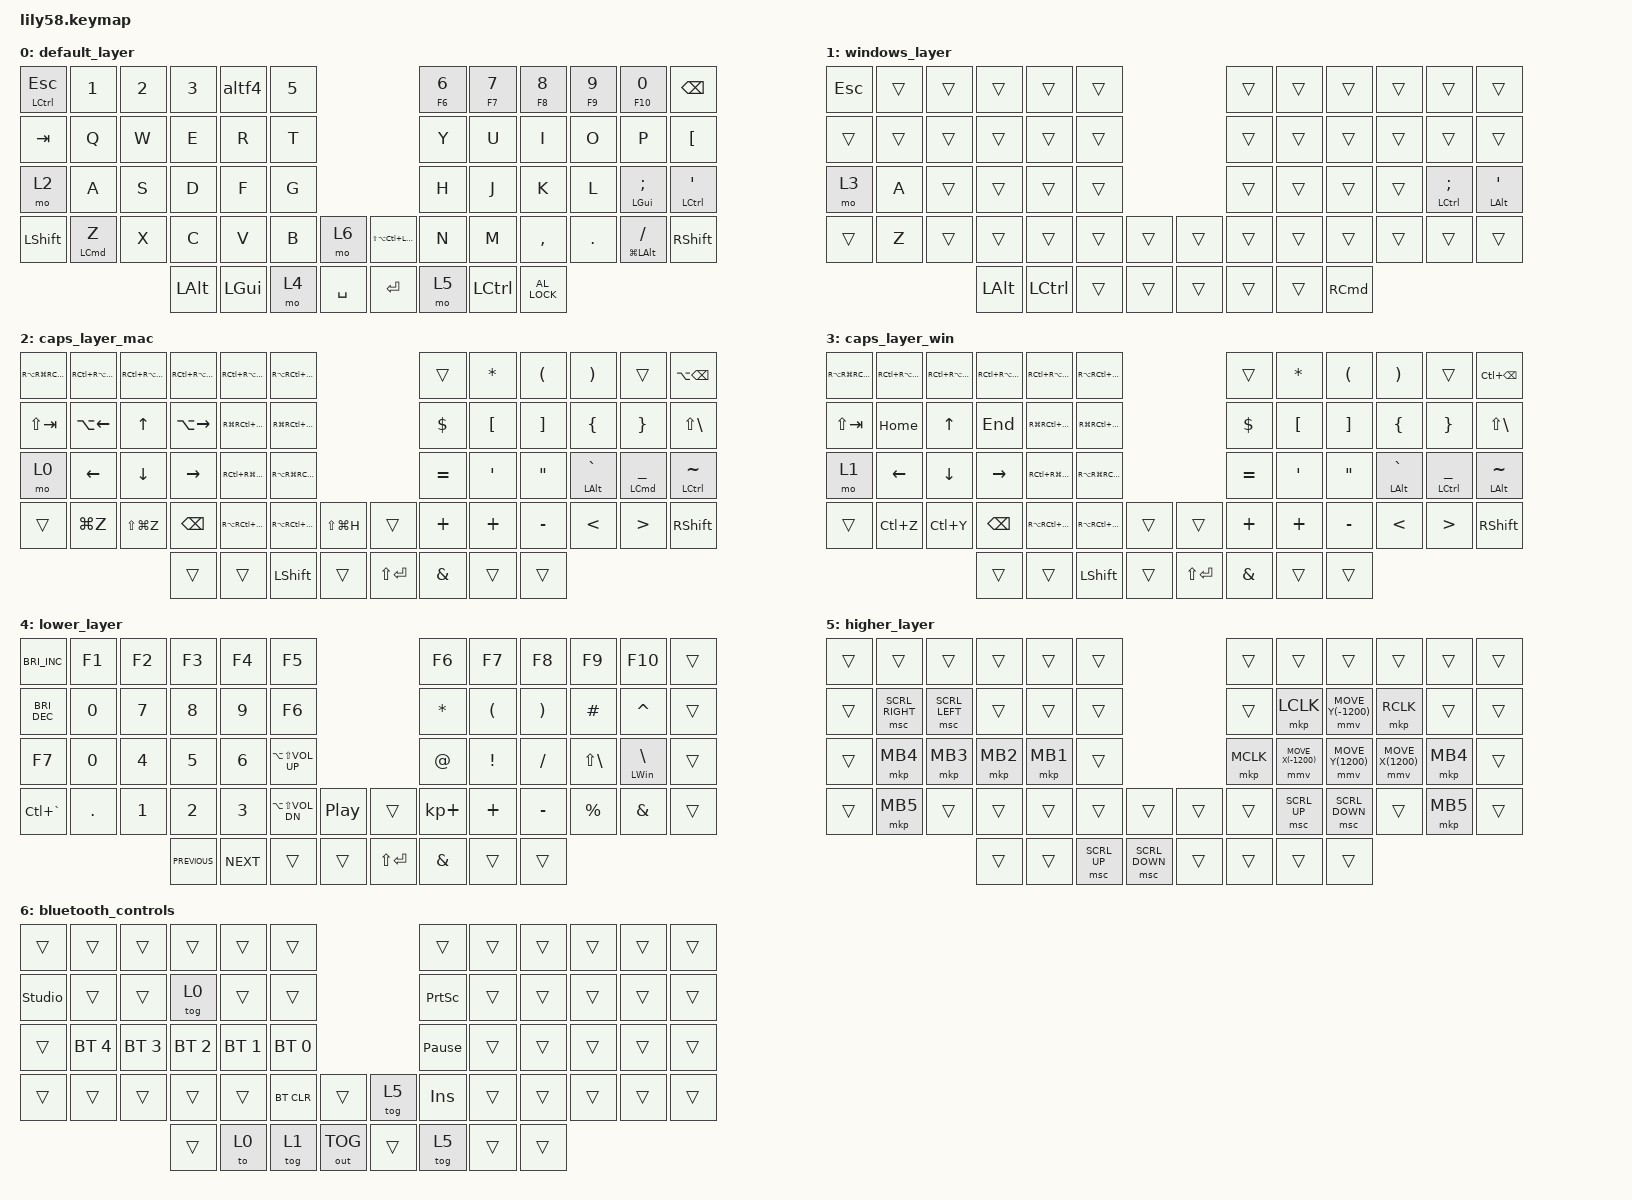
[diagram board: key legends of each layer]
/*
 * Copyright (c) 2020 The ZMK Contributors
 *
 * SPDX-License-Identifier: MIT
 */

#include <behaviors.dtsi>
#include <dt-bindings/zmk/bt.h>
#include <dt-bindings/zmk/keys.h>
#include <dt-bindings/zmk/outputs.h>
#include <dt-bindings/zmk/pointing.h>

&mt { flavor = "tap-preferred"; };

&msc { time-to-max-speed-ms = <50>; };

/ {
    combos {
        compatible = "zmk,combos";

        backspace {
            bindings = <&kp BACKSPACE>;
            key-positions = <31 32>;
            layers = <0 1 2 3 4>;
        };

        parenthesis_both {
            bindings = <&parenthesis>;
            key-positions = <19 20>;
            layers = <0 1 2 3 4>;
        };

        backspace_hard_mac {
            bindings = <&kp LA(BACKSPACE)>;
            key-positions = <31 33>;
            layers = <0 2>;
        };

        comment {
            bindings = <&kp LG(SLASH)>;
            key-positions = <31 35>;
            layers = <0 2>;
        };

        home_in_caps_layer_mac {
            bindings = <&kp LG(LEFT_ARROW)>;
            key-positions = <25 26>;
            layers = <2 4>;
        };

        end_in_caps_layer_mac {
            bindings = <&kp LG(RIGHT_ARROW)>;
            key-positions = <26 27>;
            layers = <2 4>;
        };

        delete {
            bindings = <&kp DELETE>;
            key-positions = <31 34>;
            layers = <0 2 3 4 1>;
        };

        lang_change_mac {
            bindings = <&kp F4>;
            key-positions = <28 25>;
            layers = <0>;
        };

        lang_change_win {
            bindings = <&kp LA(LEFT_SHIFT)>;
            key-positions = <28 25>;
            layers = <1>;
        };

        text_select_bulky_right {
            bindings = <&kp LA(LS(RIGHT_ARROW))>;
            key-positions = <14 15>;
            layers = <2>;
        };

        text_select_bulky_left {
            bindings = <&kp LA(LS(LEFT_ARROW))>;
            key-positions = <14 13>;
            layers = <2>;
        };

        copy_mac {
            bindings = <&mt LG(LS(C)) LG(C)>;
            key-positions = <39 38>;
            layers = <0 2 4>;
        };

        paste_mac {
            bindings = <&mt LG(LS(LA(V))) LG(V)>;
            key-positions = <39 40>;
            layers = <0 2 4>;
            require-prior-idle-ms = <50>;
            slow-release;
        };

        enter {
            bindings = <&kp ENTER>;
            key-positions = <40 38>;
            require-prior-idle-ms = <50>;
        };

        copy_win {
            bindings = <&kp LC(C)>;
            key-positions = <39 38>;
            layers = <1 3>;
            require-prior-idle-ms = <50>;
        };

        paste_win {
            bindings = <&kp LC(V)>;
            key-positions = <39 40>;
            layers = <1 3>;
        };

        shortcut_screen_left {
            bindings = <&kp RA(RC(RG(LEFT_ARROW)))>;
            key-positions = <45 46>;
            require-prior-idle-ms = <100>;
            layers = <2 3 5>;
        };

        shortcut_screen_right {
            bindings = <&kp RA(RC(RG(RIGHT_ARROW)))>;
            key-positions = <45 47>;
            require-prior-idle-ms = <100>;
            layers = <2 3 5>;
        };

        shortcut_screen_full {
            bindings = <&kp RA(RC(RG(ENTER)))>;
            key-positions = <45 48>;
            require-prior-idle-ms = <100>;
            layers = <2 3 5>;
        };

        shortcut_screen_next {
            bindings = <&kp RA(RC(RG(UP_ARROW)))>;
            key-positions = <46 47>;
            require-prior-idle-ms = <100>;
            layers = <2 3 5>;
        };

        page_up {
            bindings = <&mt HOME PAGE_UP>;
            key-positions = <30 31>;
        };

        page_down {
            bindings = <&mt END PAGE_DOWN>;
            key-positions = <44 45>;
        };

        find_mac {
            bindings = <&mt LS(LG(F)) LG(F)>;
            key-positions = <37 40>;
            layers = <0>;
        };

        find_win {
            bindings = <&mt LS(LC(F)) LC(F)>;
            key-positions = <37 40>;
            layers = <1>;
        };

        backspace_hard_win {
            bindings = <&kp RC(BACKSPACE)>;
            key-positions = <31 33>;
            layers = <3 1>;
        };

        select_word_mac {
            bindings = <&select_word_mac>;
            key-positions = <28 27>;
            layers = <0 2>;
        };

        select_line_mac {
            bindings = <&select_line_mac>;
            key-positions = <28 26>;
            layers = <2 0>;
        };

        enter_some_pass {
            bindings = <&some_pas>;
            key-positions = <12 24>;
        };

        mouse_left {
            bindings = <&mmv MOVE_X(-2800)>;
            key-positions = <20 19>;
            layers = <5>;
        };

        mouse_right {
            bindings = <&mmv MOVE_X(2800)>;
            key-positions = <20 21>;
            layers = <5>;
        };
    };

    macros {
        select_word_mac: select_word {
            compatible = "zmk,behavior-macro";
            #binding-cells = <0>;
            bindings = <&kp LA(LEFT) &kp LS(LA(RIGHT_ARROW))>;
            label = "SELECT_WORD";
        };

        select_line_mac: select_line {
            compatible = "zmk,behavior-macro";
            #binding-cells = <0>;
            bindings = <&kp LG(LEFT_ARROW) &kp LG(LS(RIGHT_ARROW))>;
            label = "SELECT_LINE";
        };

        some_pas: some_pas {
            compatible = "zmk,behavior-macro";
            #binding-cells = <0>;
            bindings = <&none &kp Q &kp W &kp E &kp LS(A) &kp LS(S) &kp LS(D) &kp N1 &kp N2 &kp N3 &kp EXCL &kp AT &kp HASH>;
            label = "SOME_PAS";
        };

        parenthesis: parenthesis {
            compatible = "zmk,behavior-macro";
            #binding-cells = <0>;
            bindings = <&kp LEFT_PARENTHESIS &kp RIGHT_PARENTHESIS &kp LEFT_ARROW>;
            label = "PARENTHESIS";
        };

        brackets: new_macro {
            compatible = "zmk,behavior-macro";
            #binding-cells = <0>;
            bindings = <&kp LEFT_BRACKET &kp RIGHT_BRACKET &kp LEFT_ARROW>;
            label = "NEW_MACRO";
        };

        bracets: bracets {
            compatible = "zmk,behavior-macro";
            #binding-cells = <0>;
            bindings = <&kp LEFT_BRACE &kp RIGHT_BRACE &kp LEFT_ARROW>;
            label = "BRACETS";
        };
    };

    behaviors {
        layer_4_morph: layer_4_morph {
            compatible = "zmk,behavior-mod-morph";
            label = "LAYER_4_MORPH";
            bindings = <&mo 4>, <&kp LEFT_CONTROL>;

            #binding-cells = <0>;
            mods = <(MOD_LSFT)>;
        };

        altf4: altf4 {
            compatible = "zmk,behavior-mod-morph";
            label = "ALTF4";
            bindings = <&kp NUMBER_4>, <&kp LA(F4)>;

            #binding-cells = <0>;
            mods = <(MOD_LALT)>;
        };
    };

    keymap {
        compatible = "zmk,keymap";

        default_layer {
            // ------------------------------------------------------------------------------------------------------------
            // |  ESC  |  1  |  2  |  3   |  4   |  5   |                   |  6   |  7    |  8    |  9   |   0   |   `   |
            // |  TAB  |  Q  |  W  |  E   |  R   |  T   |                   |  Y   |  U    |  I    |  O   |   P   |   -   |
            // |  CTRL |  A  |  S  |  D   |  F   |  G   |                   |  H   |  J    |  K    |  L   |   ;   |   '   |
            // | SHIFT |  Z  |  X  |  C   |  V   |  B   |   "["  |  |  "]"  |  N   |  M    |  ,    |  .   |   /   | SHIFT |
            //                     | ALT  | GUI  | LOWER|  SPACE |  | ENTER | RAISE| BSPC  | GUI   |

            bindings = <
&mt LEFT_CONTROL ESCAPE  &kp NUMBER_1  &kp NUMBER_2  &kp NUMBER_3  &altf4    &kp N5                                             &mt F6 N6  &mt F7 N7         &mt F8 N8      &mt F9 N9  &mt F10 N0             &kp BACKSPACE
&kp TAB                  &kp Q         &kp W         &kp E         &kp R     &kp T                                              &kp Y      &kp U             &kp I          &kp O      &kp P                  &kp LEFT_BRACKET
&mo 2                    &kp A         &kp S         &kp D         &kp F     &kp G                                              &kp H      &kp J             &kp K          &kp L      &mt LEFT_GUI SEMI      &mt LEFT_CONTROL SINGLE_QUOTE
&kp LSHFT                &mt LCMD Z    &kp X         &kp C         &kp V     &kp B   &mo 6        &kp LS(LA(LC(LEFT_COMMAND)))  &kp N      &kp M             &kp COMMA      &kp DOT    &mt LG(LEFT_ALT) FSLH  &kp RSHFT
                                                     &kp LALT      &kp LGUI  &mo 4   &kp SPACE    &kp ENTER                     &mo 5      &kp LEFT_CONTROL  &kp C_AL_LOCK
            >;
        };

        windows_layer {
            bindings = <
&kp ESC  &trans  &trans  &trans        &trans            &trans                    &trans  &trans  &trans             &trans  &trans                 &trans
&trans   &trans  &trans  &trans        &trans            &trans                    &trans  &trans  &trans             &trans  &trans                 &trans
&mo 3    &kp A   &trans  &trans        &trans            &trans                    &trans  &trans  &trans             &trans  &mt LEFT_CONTROL SEMI  &mt LEFT_ALT SINGLE_QUOTE
&trans   &kp Z   &trans  &trans        &trans            &trans  &trans    &trans  &trans  &trans  &trans             &trans  &trans                 &trans
                         &kp LEFT_ALT  &kp LEFT_CONTROL  &trans  &trans    &trans  &trans  &trans  &kp RIGHT_COMMAND
            >;
        };

        caps_layer_mac {
            // --------------------------------------------------------------------------------------------------------------
            // | LPAD  | BRDn | BRUp |  MUT |  Vo- |  Vo+ |                   |      |       |       |      |       |       |
            // |  F1   |  F2  |  F3  |  F4  |  F5  |  F6  |                   |  F7  |  F8   |  F9   |  F10 |  F11  |  F12  |
            // |   `   |  !   |  @   |  #   |  $   |  %   |                   |  ^   |  &    |  *    |  (   |   )   |   ~   |
            // |       |      |      |      |      |      |        |  |       |      |  _    |  +    |  {   |   }   |  "|"  |
            //                       |      |      |      |        |  |       |      |       |       |

            bindings = <
&kp RA(RG(RC(GRAVE)))  &kp RC(RA(RG(NUMBER_1)))  &kp RC(RA(RG(NUMBER_2)))  &kp RC(RA(RG(NUMBER_3)))  &kp RC(RA(RG(NUMBER_4)))  &kp RA(RC(RG(N5)))                                  &trans      &kp STAR          &kp LEFT_PARENTHESIS  &kp RIGHT_PARENTHESIS  &trans                       &kp LA(BACKSPACE)
&kp LS(TAB)            &kp LA(LEFT_ARROW)        &kp UP_ARROW              &kp LA(RIGHT_ARROW)       &kp RG(RC(RA(R)))         &kp RG(RC(RA(T)))                                   &kp DOLLAR  &kp LEFT_BRACKET  &kp RIGHT_BRACKET     &kp LEFT_BRACE         &kp RIGHT_BRACE              &kp LS(BACKSLASH)
&mo 0                  &kp LEFT_ARROW            &kp DOWN_ARROW            &kp RIGHT_ARROW           &kp RC(RG(RA(F)))         &kp RA(RG(RC(G)))                                   &kp EQUAL   &kp SINGLE_QUOTE  &kp DOUBLE_QUOTES     &mt LEFT_ALT GRAVE     &mt LEFT_COMMAND UNDERSCORE  &mt LCTRL TILDE
&trans                 &kp LG(Z)                 &kp LS(LG(Z))             &kp BACKSPACE             &kp RA(RC(RG(V)))         &kp RA(RC(RG(B)))   &kp LS(LG(H))    &trans         &kp PLUS    &kp PLUS          &kp MINUS             &kp LESS_THAN          &kp GREATER_THAN             &kp RIGHT_SHIFT
                                                                           &trans                    &trans                    &kp LEFT_SHIFT      &trans           &kp LS(ENTER)  &kp AMPS    &trans            &trans
            >;
        };

        caps_layer_win {
            bindings = <
&kp RA(RG(RC(GRAVE)))  &kp RC(RA(RG(NUMBER_1)))  &kp RC(RA(RG(NUMBER_2)))  &kp RC(RA(RG(NUMBER_3)))  &kp RC(RA(RG(NUMBER_4)))  &kp RA(RC(RG(N5)))                           &trans      &kp STAR          &kp LEFT_PARENTHESIS  &kp RIGHT_PARENTHESIS  &trans                       &kp LC(BACKSPACE)
&kp LS(TAB)            &kp HOME                  &kp UP_ARROW              &kp END                   &kp RG(RC(RA(R)))         &kp RG(RC(RA(T)))                            &kp DOLLAR  &kp LEFT_BRACKET  &kp RIGHT_BRACKET     &kp LEFT_BRACE         &kp RIGHT_BRACE              &kp LS(BACKSLASH)
&mo 1                  &kp LEFT_ARROW            &kp DOWN_ARROW            &kp RIGHT_ARROW           &kp RC(RG(RA(F)))         &kp RA(RG(RC(G)))                            &kp EQUAL   &kp SINGLE_QUOTE  &kp DOUBLE_QUOTES     &mt LEFT_ALT GRAVE     &mt LEFT_CONTROL UNDERSCORE  &mt LEFT_ALT TILDE
&trans                 &kp LC(Z)                 &kp LC(Y)                 &kp BACKSPACE             &kp RA(RC(RG(V)))         &kp RA(RC(RG(B)))   &trans    &trans         &kp PLUS    &kp PLUS          &kp MINUS             &kp LESS_THAN          &kp GREATER_THAN             &kp RIGHT_SHIFT
                                                                           &trans                    &trans                    &kp LEFT_SHIFT      &trans    &kp LS(ENTER)  &kp AMPS    &trans            &trans
            >;
        };

        lower_layer {
            // ------------------------------------------------------------------------------------------------------------
            // |       |     |     |      |      |      |                   |      |       |       |      |       |       |
            // |   `   |  1  |  2  |  3   |  4   |  5   |                   |  6   |   7   |   8   |  9   |   0   |       |
            // |   F1  |  F2 |  F3 |  F4  |  F5  |  F6  |                   |      |   <-  |   v   |  ^   |  ->   |       |
            // |   F7  |  F8 |  F9 |  F10 |  F11 |  F12 |        |  |       |  +   |   -   |   =   |  [   |   ]   |   \   |
            //                     |      |      |      |        |  |       |      |       |       |

            bindings = <
&kp C_BRIGHTNESS_INC  &kp F1        &kp F2        &kp F3          &kp F4        &kp F5                                                      &kp F6         &kp F7                &kp F8                 &kp F9             &kp F10                 &trans
&kp C_BRIGHTNESS_DEC  &kp NUMBER_0  &kp N7        &kp N8          &kp N9        &kp F6                                                      &kp ASTERISK   &kp LEFT_PARENTHESIS  &kp RIGHT_PARENTHESIS  &kp HASH           &kp CARET               &trans
&kp F7                &kp NUMBER_0  &kp NUMBER_4  &kp NUMBER_5    &kp NUMBER_6  &kp LA(LS(C_VOLUME_UP))                                     &kp AT         &kp EXCL              &kp SLASH              &kp LS(BACKSLASH)  &mt LEFT_WIN BACKSLASH  &trans
&kp LC(GRAVE)         &kp DOT       &kp NUMBER_1  &kp NUMBER_2    &kp NUMBER_3  &kp LA(LS(C_VOL_DN))     &kp C_PLAY_PAUSE    &trans         &kp KP_PLUS    &kp PLUS              &kp MINUS              &kp PERCENT        &kp AMPERSAND           &trans
                                                  &kp C_PREVIOUS  &kp C_NEXT    &trans                   &trans              &kp LS(ENTER)  &kp AMPERSAND  &trans                &trans
            >;
        };

        higher_layer {
            bindings = <
&trans  &trans           &trans          &trans    &trans    &trans                                  &trans     &trans              &trans              &trans             &trans    &trans
&trans  &msc SCRL_RIGHT  &msc SCRL_LEFT  &trans    &trans    &trans                                  &trans     &mkp LCLK           &mmv MOVE_Y(-1200)  &mkp RCLK          &trans    &trans
&trans  &mkp MB4         &mkp MB3        &mkp MB2  &mkp MB1  &trans                                  &mkp MCLK  &mmv MOVE_X(-1200)  &mmv MOVE_Y(1200)   &mmv MOVE_X(1200)  &mkp MB4  &trans
&trans  &mkp MB5         &trans          &trans    &trans    &trans        &trans            &trans  &trans     &msc SCRL_UP        &msc SCRL_DOWN      &trans             &mkp MB5  &trans
                                         &trans    &trans    &msc SCRL_UP  &msc SCRL_DOWN    &trans  &trans     &trans              &trans
            >;
        };

        bluetooth_controls {
            bindings = <
&trans          &trans        &trans        &trans        &trans        &trans                                &trans           &trans  &trans  &trans  &trans  &trans
&studio_unlock  &trans        &trans        &tog 0        &trans        &trans                                &kp PRINTSCREEN  &trans  &trans  &trans  &trans  &trans
&trans          &bt BT_SEL 4  &bt BT_SEL 3  &bt BT_SEL 2  &bt BT_SEL 1  &bt BT_SEL 0                          &kp PAUSE_BREAK  &trans  &trans  &trans  &trans  &trans
&trans          &trans        &trans        &trans        &trans        &bt BT_CLR    &trans          &tog 5  &kp INSERT       &trans  &trans  &trans  &trans  &trans
                                            &trans        &to 0         &tog 1        &out OUT_TOG    &trans  &tog 5           &trans  &trans
            >;
        };
    };
};
